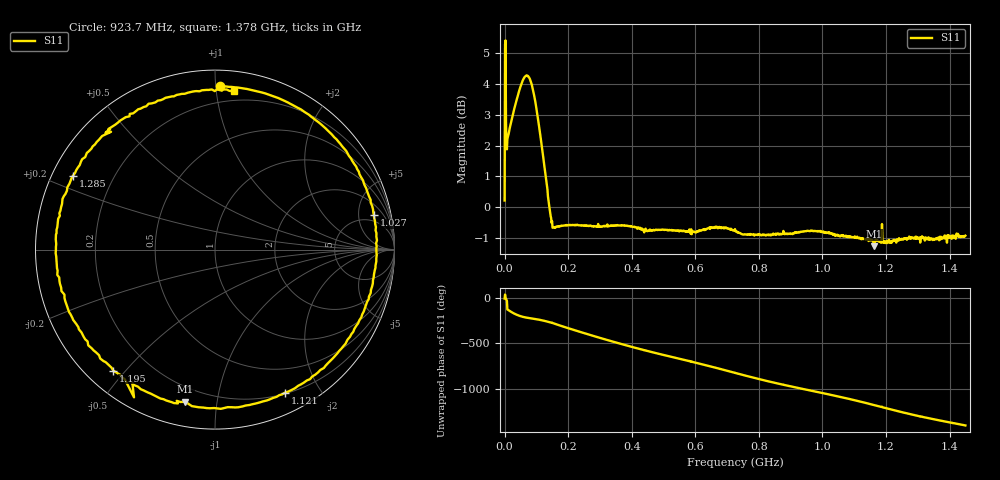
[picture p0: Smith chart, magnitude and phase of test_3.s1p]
! Created with skrf 1.11.0 (http://scikit-rf.org).
# Hz S RI R 50.0
!freq ReS11 ImS11
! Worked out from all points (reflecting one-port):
!   1001 points, 50 kHz to 1.45 GHz, reference 50 ohm
!   lowest |S11| = -1.3 dB at 1.161 GHz (marker M1), VSWR 13.69, Z = 6.11 - j40.8 ohm
!   phase of S11 starts at -4 deg and turns -1401 deg over the sweep
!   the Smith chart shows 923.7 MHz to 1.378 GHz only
!   S11 on the Smith chart (normalised r, x): 923.7 MHz: 0.10, +1.02; 1.027 GHz: 3.59, +7.68; 1.121 GHz: 0.21, -1.58; 1.195 GHz: 0.08, -0.46; 1.285 GHz: 0.06, +0.24; 1.378 GHz: 0.13, +1.12
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50000  1.022 -0.0771
1.599945e7  -1.048 -0.8396
3.919865e7  -1.497 0.1285
6.38478e7  -1.39 0.8517
8.99469e7  -1.061 1.126
1.812938e8  0.603 0.7114
2.32042e8  0.9281 -0.1071
2.871401e8  0.3906 -0.8442
3.233888e8  -0.2018 -0.9149
3.625375e8  -0.7319 -0.5793
4.132858e8  -0.9129 0.1648
4.669339e8  -0.4788 0.7824
5.437812e8  0.5087 0.7607
6.307782e8  0.8736 -0.2911
6.829764e8  0.375 -0.8446
7.25025e8  -0.2089 -0.8968
8.076722e8  -0.9001 0.000873
9.062688e8  -0.1804 0.8855
9.236682e8  0.0263 0.9097
1.026615e9  0.8854 0.1919
1.087512e9  0.7271 -0.5246
1.120861e9  0.3907 -0.7966
1.16146e9  -0.1654 -0.8478
1.194809e9  -0.5668 -0.6737
1.268756e9  -0.8612 0.2173
1.284706e9  -0.7912 0.412
1.377502e9  0.1049 0.8832
1.45e9  0.7427 0.5054
